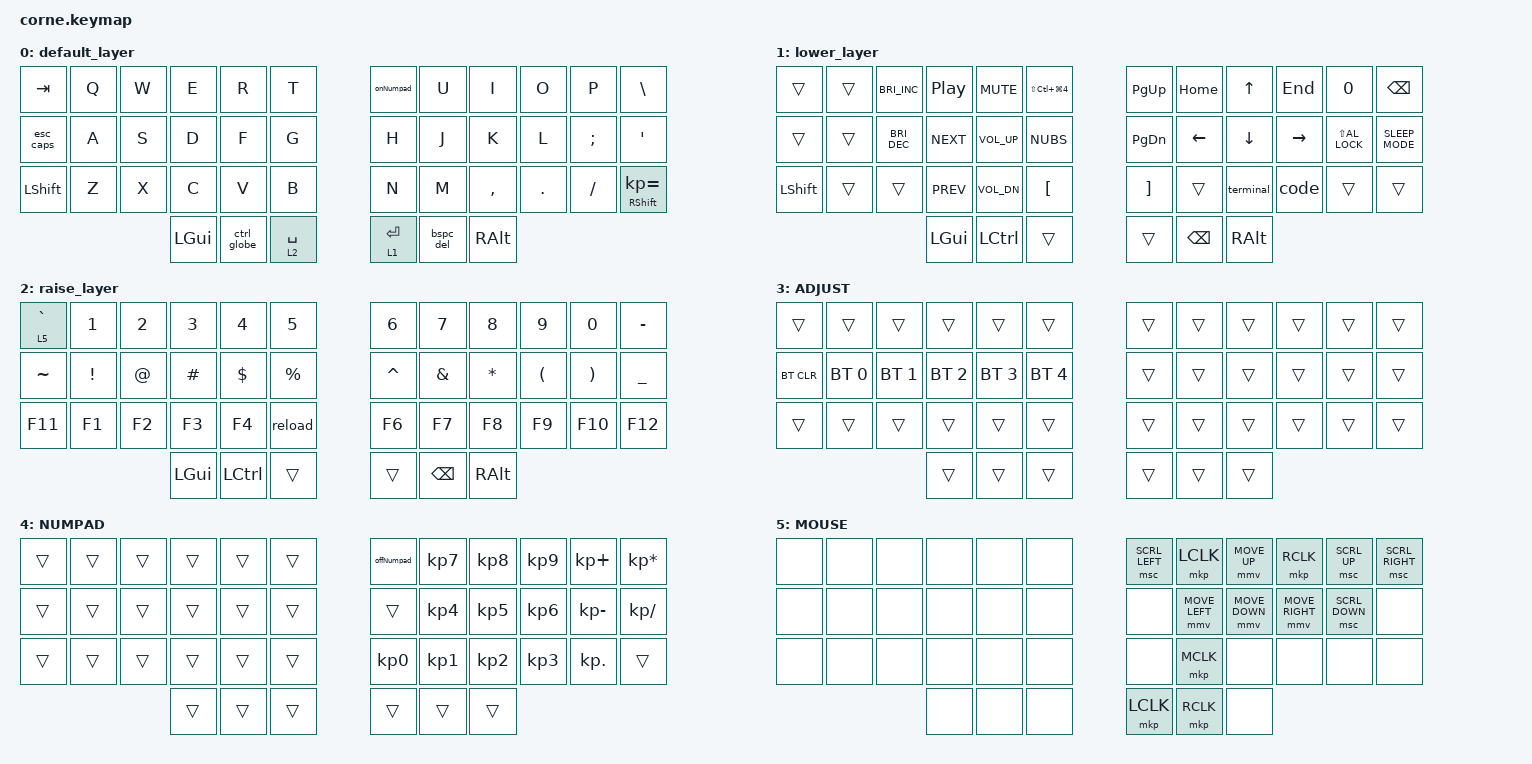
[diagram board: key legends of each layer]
/*
 * Copyright (c) 2020 The ZMK Contributors 
 *
 * SPDX-License-Identifier: MIT
 */

#include <dt-bindings/zmk/mouse.h>
#include <behaviors.dtsi>
#include <dt-bindings/zmk/bt.h>
#include <dt-bindings/zmk/keys.h>
#include <dt-bindings/zmk/pointing.h>

#define U_MOUSE_MOVE_MAX 1500       /* <--- New max speed for mouse movement */
#define U_MOUSE_SCROLL_MAX 20    /* <--- New max speed for scrolling */

/ {
    behaviors {
        onNumpad: onNumpad {
            compatible = "zmk,behavior-tap-dance";
            label = "ONNUMPAD";
            #binding-cells = <0>;
            bindings = <&kp Y>, <&to 4>;
        };

        offNumpad: offNumpad {
            compatible = "zmk,behavior-tap-dance";
            label = "OFFNUMPAD";
            #binding-cells = <0>;
            bindings = <&kp Y>, <&to 0>;
        };

        reload: reload {
            compatible = "zmk,behavior-tap-dance";
            label = "RELOAD";
            #binding-cells = <0>;
            bindings = <&kp F5>, <&kp LG(LS(R))>;
        };

        esc_caps: esc_caps {
            compatible = "zmk,behavior-tap-dance";
            label = "ESC_CAPS";
            #binding-cells = <0>;
            bindings = <&kp ESC>, <&caps_word>;
        };

        bspc_del: bspc_del {
            compatible = "zmk,behavior-mod-morph";
            label = "BSPC_DEL";
            bindings = <&kp BACKSPACE>, <&kp DEL>;

            #binding-cells = <0>;
            mods = <(MOD_LSFT)>;
        };

        ctrl_globe: ctrl_globe {
            compatible = "zmk,behavior-mod-morph";
            label = "CTRL_GLOBE";
            bindings =
                <&kp LEFT_CONTROL>,
                <&kp C_AC_NEXT_KEYBOARD_LAYOUT_SELECT>;

            #binding-cells = <0>;
            mods = <(MOD_LSFT)>;
        };
    };

    combos {
        compatible = "zmk,combos";

        CMDQ {
            bindings = <&kp LG(Q)>;
            key-positions = <1 3>;
            layers = <0>;
        };

        CMDW {
            bindings = <&kp LG(W)>;
            key-positions = <2 4>;
            layers = <0>;
        };

        Globe_key {
            bindings = <&kp GLOBE>;
            key-positions = <37 24>;
        };

        newTab {
            bindings = <&kp LG(T)>;
            key-positions = <1 5>;
        };
    };

    macros {
        terminal: terminal {
            compatible = "zmk,behavior-macro";
            label = "TERMINAL";
            #binding-cells = <0>;
            bindings =
                <&kp RIGHT_ALT &kp RIGHT_ALT>,
                <&macro_wait_time 200>,
                <&kp T &kp E &kp R &kp M &kp I &kp N &kp A &kp L &kp ENTER>;
        };

        code: code {
            compatible = "zmk,behavior-macro";
            label = "CODE";
            #binding-cells = <0>;
            bindings = <&kp C &kp O &kp D &kp E &kp SPACE &kp DOT &kp ENTER>;
        };
    };

    keymap {
        compatible = "zmk,keymap";

        default_layer {
            // -----------------------------------------------------------------------------------------
            // |  TAB |  Q  |  W  |  E  |  R  |  T  |   |  Y  |  U   |  I  |  O  |  P  | BKSP |
            // | CTRL |  A  |  S  |  D  |  F  |  G  |   |  H  |  J   |  K  |  L  |  ;  |  '   |
            // | SHFT |  Z  |  X  |  C  |  V  |  B  |   |  N  |  M   |  ,  |  .  |  /  | ESC  |
            //                    | GUI | LWR | SPC |   | ENT | RSE  | ALT |

            bindings = <
&kp TAB    &kp Q  &kp W  &kp E     &kp R        &kp T          &onNumpad    &kp U      &kp I      &kp O    &kp P     &kp BACKSLASH
&esc_caps  &kp A  &kp S  &kp D     &kp F        &kp G          &kp H        &kp J      &kp K      &kp L    &kp SEMI  &kp SQT
&kp LSHFT  &kp Z  &kp X  &kp C     &kp V        &kp B          &kp N        &kp M      &kp COMMA  &kp DOT  &kp FSLH  &mt RIGHT_SHIFT KP_EQUAL
                         &kp LGUI  &ctrl_globe  &lt 2 SPACE    &lt 1 ENTER  &bspc_del  &kp RALT
            >;
        };

        lower_layer {
            // -----------------------------------------------------------------------------------------
            // |  TAB |  1  |  2  |  3  |  4  |  5  |   |  6  |  7  |  8  |  9  |  0  | BKSP |
            // | BTCLR| BT1 | BT2 | BT3 | BT4 | BT5 |   | LFT | DWN |  UP | RGT |     |      |
            // | SHFT |     |     |     |     |     |   |     |     |     |     |     |      |
            //                    | GUI |     | SPC |   | ENT |     | ALT |

            bindings = <
&trans     &trans  &kp C_BRIGHTNESS_INC  &kp C_PP    &kp K_MUTE        &kp LS(LC(LG(NUMBER_4)))    &kp PG_UP          &kp HOME       &kp UP     &kp END    &kp N0             &kp BSPC
&trans     &trans  &kp C_BRIGHTNESS_DEC  &kp C_NEXT  &kp C_VOLUME_UP   &kp NUBS                    &kp PAGE_DOWN      &kp LEFT       &kp DOWN   &kp RIGHT  &kp LS(C_AL_LOCK)  &kp C_SLEEP_MODE
&kp LSHFT  &trans  &trans                &kp C_PREV  &kp C_VOL_DN      &kp LEFT_BRACKET            &kp RIGHT_BRACKET  &trans         &terminal  &code      &trans             &trans
                                         &kp LGUI    &kp LEFT_CONTROL  &trans                      &trans             &kp BACKSPACE  &kp RALT
            >;
        };

        raise_layer {
            // -----------------------------------------------------------------------------------------
            // |  TAB |  !  |  @  |  #  |  $  |  %  |   |  ^  |  &  |  *  |  (  |  )  | BKSP |
            // | CTRL |     |     |     |     |     |   |  -  |  =  |  [  |  ]  |  \  |  `   |
            // | SHFT |     |     |     |     |     |   |  _  |  +  |  {  |  }  | "|" |  ~   |
            //                    | GUI |     | SPC |   | ENT |     | ALT |

            bindings = <
&lt 5 GRAVE  &kp NUMBER_1  &kp NUMBER_2  &kp N3    &kp N4      &kp N5         &kp NUMBER_6  &kp N7         &kp N8        &kp N9                &kp N0                 &kp MINUS
&kp TILDE    &kp EXCL      &kp AT_SIGN   &kp HASH  &kp DOLLAR  &kp PERCENT    &kp CARET     &kp AMPERSAND  &kp ASTERISK  &kp LEFT_PARENTHESIS  &kp RIGHT_PARENTHESIS  &kp UNDERSCORE
&kp F11      &kp F1        &kp F2        &kp F3    &kp F4      &reload        &kp F6        &kp F7         &kp F8        &kp F9                &kp F10                &kp F12
                                         &kp LGUI  &kp LCTRL   &trans         &trans        &kp BACKSPACE  &kp RALT
            >;
        };

        ADJUST {
            bindings = <
&trans      &trans        &trans        &trans        &trans        &trans          &trans  &trans  &trans  &trans  &trans  &trans
&bt BT_CLR  &bt BT_SEL 0  &bt BT_SEL 1  &bt BT_SEL 2  &bt BT_SEL 3  &bt BT_SEL 4    &trans  &trans  &trans  &trans  &trans  &trans
&trans      &trans        &trans        &trans        &trans        &trans          &trans  &trans  &trans  &trans  &trans  &trans
                                        &trans        &trans        &trans          &trans  &trans  &trans
            >;
        };

        NUMPAD {
            bindings = <
&trans  &trans  &trans  &trans  &trans  &trans    &offNumpad  &kp KP_NUMBER_7  &kp KP_N8  &kp KP_N9  &kp KP_PLUS      &kp KP_ASTERISK
&trans  &trans  &trans  &trans  &trans  &trans    &trans      &kp KP_N4        &kp KP_N5  &kp KP_N6  &kp KP_SUBTRACT  &kp KP_DIVIDE
&trans  &trans  &trans  &trans  &trans  &trans    &kp KP_N0   &kp KP_N1        &kp KP_N2  &kp KP_N3  &kp KP_DOT       &trans
                        &trans  &trans  &trans    &trans      &trans           &trans
            >;
        };

        MOUSE {
            bindings = <
&none  &none  &none  &none  &none  &none    &msc SCRL_LEFT  &mkp LCLK       &mmv MOVE_UP    &mkp RCLK        &msc SCRL_UP    &msc SCRL_RIGHT
&none  &none  &none  &none  &none  &none    &none           &mmv MOVE_LEFT  &mmv MOVE_DOWN  &mmv MOVE_RIGHT  &msc SCRL_DOWN  &none
&none  &none  &none  &none  &none  &none    &none           &mkp MCLK       &none           &none            &none           &none
                     &none  &none  &none    &mkp LCLK       &mkp RCLK       &none
            >;
        };
    };

    conditional_layers {
        compatible = "zmk,conditional-layers";

        AdjustLayer {
            if-layers = <1 2>;
            then-layer = <3>;
        };
    };
};
